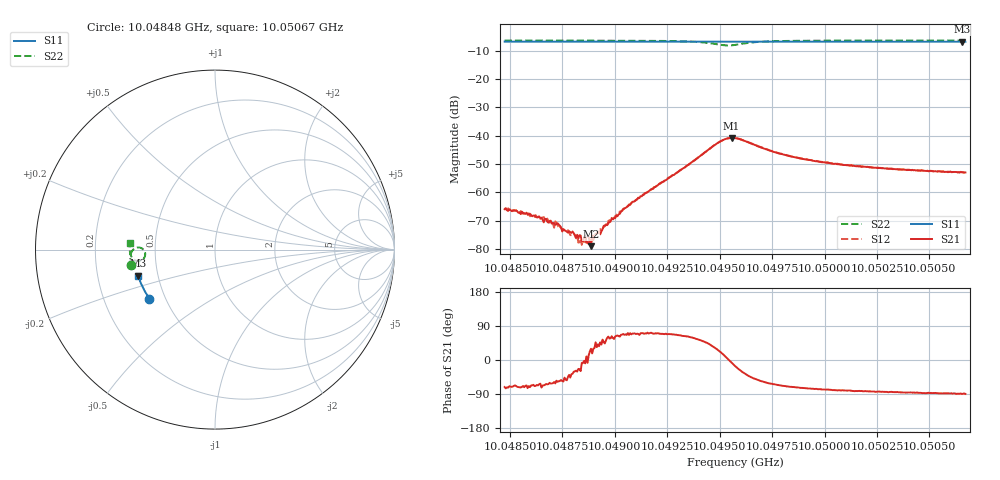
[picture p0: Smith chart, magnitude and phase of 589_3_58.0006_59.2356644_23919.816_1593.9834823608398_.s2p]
#  HZ  S  RI  R  50.00
! Rohde & Schwarz Vector Network Analyzer
! Rohde-Schwarz,ZNB20-2Port,1311601062101988,3.16
! Created: UTC 3/21/2024, 1:16:45 AM
! freq[Hz]  re:S11  im:S11  re:S21  im:S21  re:S12  im:S12  re:S22  im:S22
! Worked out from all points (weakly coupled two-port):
!   401 points, 10.04848 GHz to 10.05067 GHz, reference 50 ohm
!   highest |S21| = -40.82 dB at 10.04956 GHz (marker M1); lowest = -79.0 dB at 10.04889 GHz (marker M2)
!   lowest |S11| = -6.9 dB at 10.05065 GHz (marker M3), VSWR 2.65, Z = 19.3 - j7.08 ohm
!   |S11| at or under -10 dB: nowhere
!   |S22| runs from -8.2 to -6.4 dB; largest |S21 - S12| = 0.00068
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1.0048475e10  -0.3651 -0.2733  0.000162 -0.000478  0.00018 -0.000478  -0.469 -0.0872
1.004859e10  -0.3694 -0.2671  0.000146 -0.000377  0.000184 -0.000382  -0.4701 -0.0787
1.0048667e10  -0.3722 -0.2628  0.000141 -0.00031  0.000177 -0.000276  -0.4708 -0.073
1.0048733e10  -0.3748 -0.2593  0.00015 -0.000225  0.000153 -0.00017  -0.4712 -0.068
1.0048761e10  -0.3755 -0.2578  0.000148 -0.000157  0.000129 -0.000168  -0.4713 -0.0656
1.0048794e10  -0.3769 -0.256  0.000153 -0.000117  0.000143 -0.000103  -0.4716 -0.0631
1.0048843e10  -0.3786 -0.2532  0.000138 -1.9e-05  0.000108 -4.96e-05  -0.4718 -0.0591
1.004887e10  -0.3794 -0.2516  0.000131 -1.68e-05  0.00014 2.91e-05  -0.4719 -0.0569
1.0048876e10  -0.3798 -0.2513  0.000119 2.65e-05  0.000163 1.95e-05  -0.4719 -0.0564
1.0048887e10  -0.38 -0.2507  9.76e-05 5.56e-05  0.000125 4.47e-05  -0.4719 -0.0554
1.0048914e10  -0.381 -0.2492  0.000153 0.000103  0.000157 0.000116  -0.4719 -0.0531
1.0048931e10  -0.3816 -0.2483  0.000125 0.000132  0.000137 0.000177  -0.4718 -0.0517
1.0049041e10  -0.3853 -0.242  0.000186 0.000476  0.000178 0.000469  -0.4716 -0.0415
1.0049211e10  -0.3908 -0.2323  0.000477 0.00132  0.000405 0.00133  -0.4686 -0.0227
1.0049491e10  -0.3989 -0.2156  0.00663 0.00335  0.0064 0.00379  -0.4073 0.00677
1.0049557e10  -0.4004 -0.2123  0.00904 -0.00111  0.00913 -0.000491  -0.3898 -0.0355
1.0049573e10  -0.401 -0.2116  0.0087 -0.00246  0.00889 -0.00187  -0.395 -0.0469
1.0049776e10  -0.4074 -0.1998  0.00202 -0.0045  0.00233 -0.0044  -0.4626 -0.0443
1.0049941e10  -0.4119 -0.1898  0.00088 -0.00351  0.0011 -0.0035  -0.4721 -0.0224
1.0050309e10  -0.4209 -0.1673  0.000254 -0.00259  0.000428 -0.00258  -0.4754 0.0112
1.0050655e10  -0.4281 -0.1459  7.21e-06 -0.00225  0.000139 -0.00227  -0.4743 0.0374
1.0050671e10  -0.4287 -0.145  2.15e-05 -0.00224  0.000157 -0.00221  -0.4742 0.0386
